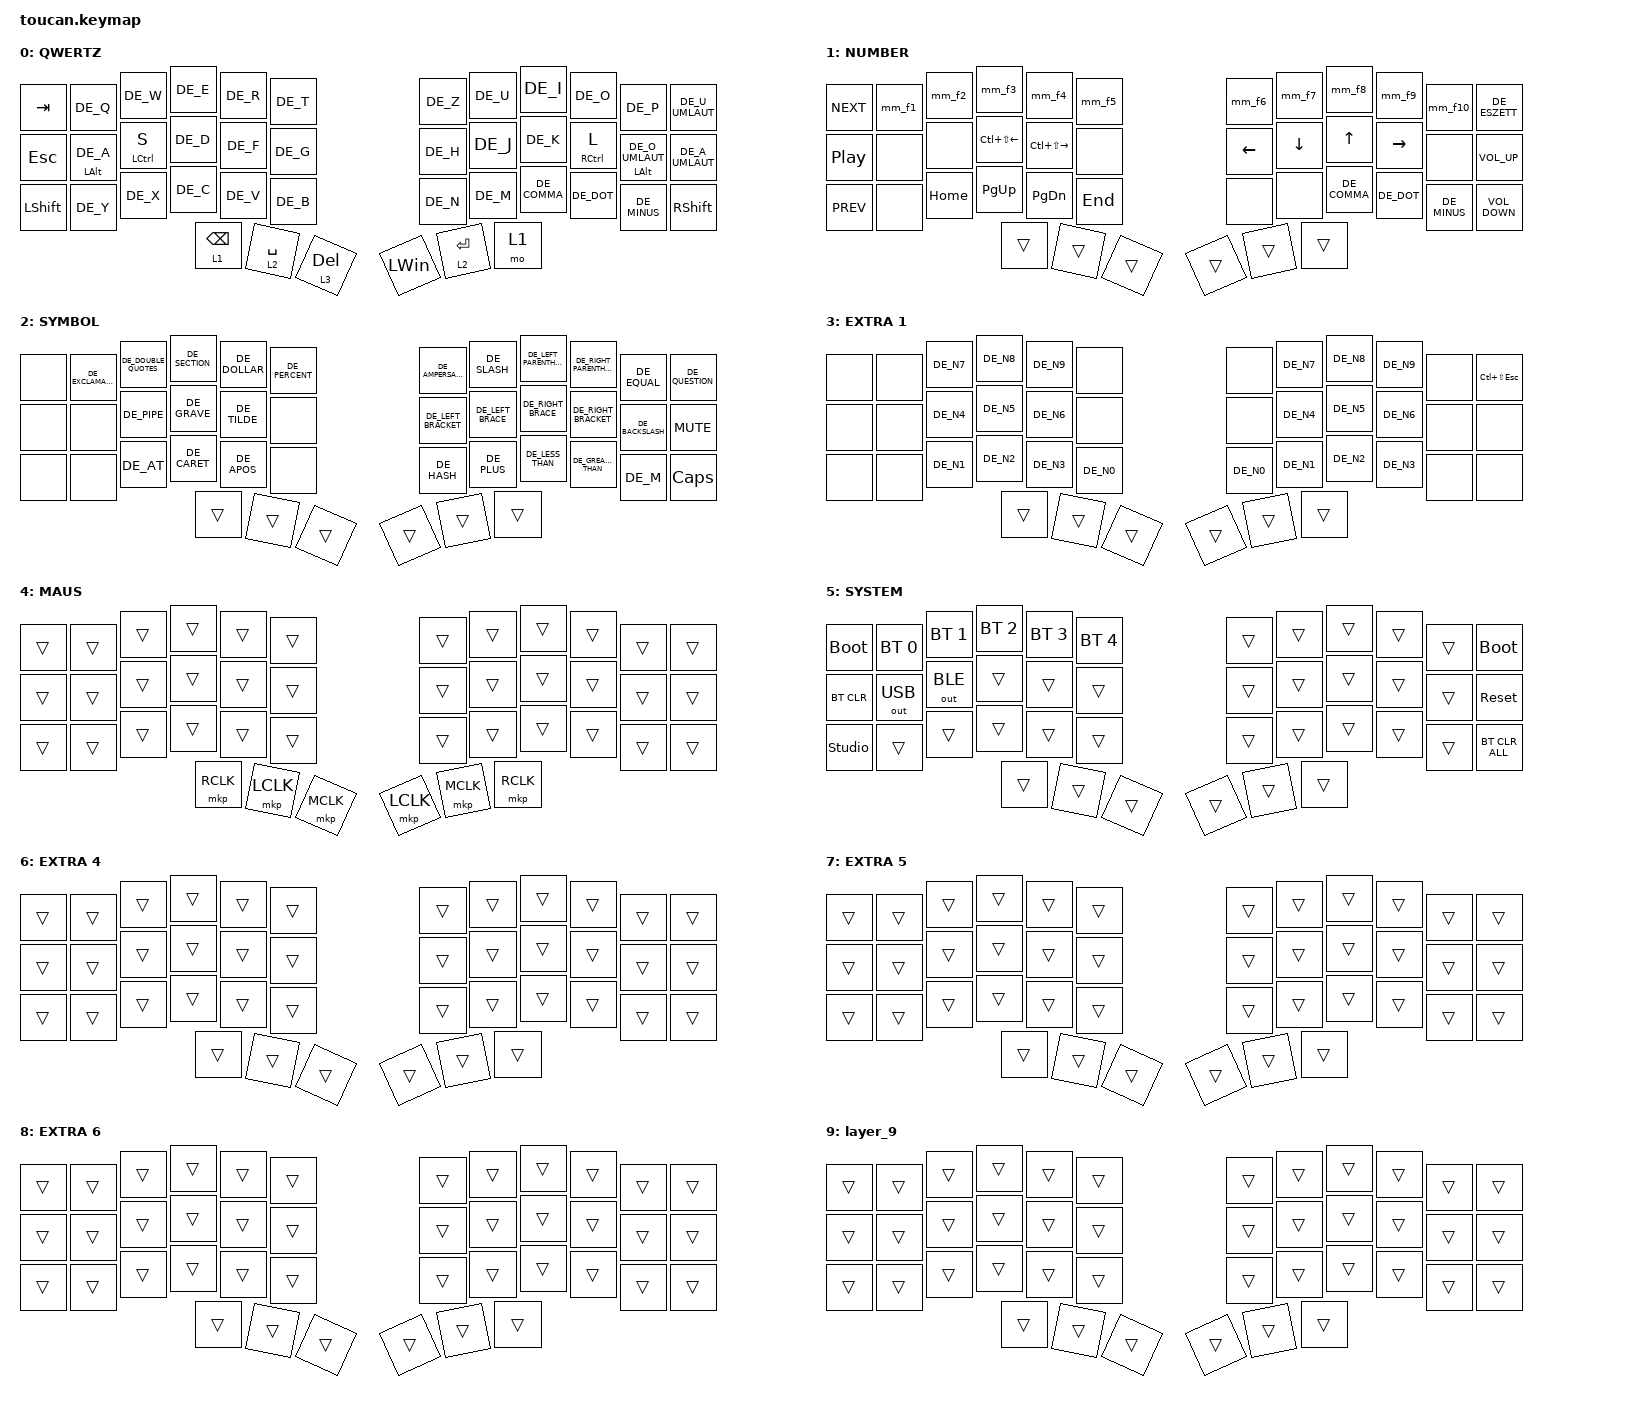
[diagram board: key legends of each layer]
/*
 * Copyright (c) 2020 The ZMK Contributors
 *
 * SPDX-License-Identifier: MIT
 *
 * Toucan2-Keymap, abgeleitet von config/piantor_pro_bt.keymap.
 * Gleiche Tastenpositionen (3x6 + 3 Daumentasten pro Seite).
 * Unterschiede zur Piantor:
 *  - Ebene 4 ist die Maus-Ebene: Sie wird automatisch aktiv, solange das
 *    Trackpad beruehrt wird (siehe is_touching_processor in toucan.dtsi).
 *  - Ebene 5 (SYSTEM) mit Bluetooth, Bootloader und Studio-Unlock.
 *    Erreichbar ueber Ebene 1 + Ebene 2 gleichzeitig halten.
 */

#include <behaviors.dtsi>
#include <dt-bindings/zmk/keys.h>
#include <dt-bindings/zmk/bt.h>
#include <dt-bindings/zmk/outputs.h>
#include <dt-bindings/zmk/pointing.h>
#include "keys_de.h"

/ {
    chosen { zmk,physical-layout = &default_layout; };
};

/ {
    behaviors {
        HMR: HMR {
            compatible = "zmk,behavior-hold-tap";
            label = "HMR";
            bindings = <&kp>, <&kp>;

            #binding-cells = <2>;
            hold-trigger-key-positions = <1 15 2 3 4 16 5 17 29 28 26 14 27 13 25 24 12 36 37 38 0>;
            hold-trigger-on-release;
            tapping-term-ms = <250>;
            flavor = "tap-preferred";
            require-prior-idle-ms = <100>;
        };

        HML: HML {
            compatible = "zmk,behavior-hold-tap";
            label = "HML";
            bindings = <&kp>, <&kp>;

            #binding-cells = <2>;
            hold-trigger-key-positions = <6 7 8 9 10 11 18 19 20 21 22 23 30 31 32 33 34 35 40 41 39>;
            hold-trigger-on-release;
            tapping-term-ms = <250>;
            flavor = "tap-preferred";
            require-prior-idle-ms = <100>;
        };

        // Layer 1: Ziffer normal, mit Strg -> F-Taste. Das Strg wird beim
        // Morph entfernt (keep-mods = 0 als Default), es kommt reines Fn an.
        // Shift+Zahl bleibt damit frei fuer die Symbole (z. B. $ = Shift+4).

        mm_f1: mm_f1 {
            compatible = "zmk,behavior-mod-morph";
            #binding-cells = <0>;
            bindings = <&kp DE_N1>, <&kp F1>;

            mods = <(MOD_LCTL|MOD_RCTL)>;
        };

        mm_f2: mm_f2 {
            compatible = "zmk,behavior-mod-morph";
            #binding-cells = <0>;
            bindings = <&kp DE_N2>, <&kp F2>;

            mods = <(MOD_LCTL|MOD_RCTL)>;
        };

        mm_f3: mm_f3 {
            compatible = "zmk,behavior-mod-morph";
            #binding-cells = <0>;
            bindings = <&kp DE_N3>, <&kp F3>;

            mods = <(MOD_LCTL|MOD_RCTL)>;
        };

        mm_f4: mm_f4 {
            compatible = "zmk,behavior-mod-morph";
            #binding-cells = <0>;
            bindings = <&kp DE_N4>, <&kp F4>;

            mods = <(MOD_LCTL|MOD_RCTL)>;
        };

        mm_f5: mm_f5 {
            compatible = "zmk,behavior-mod-morph";
            #binding-cells = <0>;
            bindings = <&kp DE_N5>, <&kp F5>;

            mods = <(MOD_LCTL|MOD_RCTL)>;
        };

        mm_f6: mm_f6 {
            compatible = "zmk,behavior-mod-morph";
            #binding-cells = <0>;
            bindings = <&kp DE_N6>, <&kp F6>;

            mods = <(MOD_LCTL|MOD_RCTL)>;
        };

        mm_f7: mm_f7 {
            compatible = "zmk,behavior-mod-morph";
            #binding-cells = <0>;
            bindings = <&kp DE_N7>, <&kp F7>;

            mods = <(MOD_LCTL|MOD_RCTL)>;
        };

        mm_f8: mm_f8 {
            compatible = "zmk,behavior-mod-morph";
            #binding-cells = <0>;
            bindings = <&kp DE_N8>, <&kp F8>;

            mods = <(MOD_LCTL|MOD_RCTL)>;
        };

        mm_f9: mm_f9 {
            compatible = "zmk,behavior-mod-morph";
            #binding-cells = <0>;
            bindings = <&kp DE_N9>, <&kp F9>;

            mods = <(MOD_LCTL|MOD_RCTL)>;
        };

        mm_f10: mm_f10 {
            compatible = "zmk,behavior-mod-morph";
            #binding-cells = <0>;
            bindings = <&kp N0>, <&kp F10>;

            mods = <(MOD_LCTL|MOD_RCTL)>;
        };
    };

    // Ebene 1 + Ebene 2 gleichzeitig -> SYSTEM-Ebene
    conditional_layers {
        compatible = "zmk,conditional-layers";

        number_symbol_to_system {
            if-layers = <1 2>;
            then-layer = <5>;
        };
    };

    macros {
        open_terminal: open_terminal {
            compatible = "zmk,behavior-macro";
            #binding-cells = <0>;
            bindings = <&none>;
            label = "OPEN_TERMINAL";
        };
    };

    keymap {
        compatible = "zmk,keymap";

        default_layer {
            display-name = "QWERTZ";

            // --------------------------------------------------------------------------------
            // |  TAB |  Q  |  W  |  E  |  R  |  T  |  Y  |  U   |  I  |  O  |  P  | BSPC |
            // | CTRL |  A  |  S  |  D  |  F  |  G  |  H  |  J   |  K  |  L  |  ;  |  '   |
            // | SHFT |  Z  |  X  |  C  |  V  |  B  |  N  |  M   |  ,  |  .  |  /  | ESC  |
            //                    | GUI | LWR | SPC | ENT | RSE  | ALT |

            bindings = <
&kp TAB  &kp DE_Q  &kp DE_W  &kp DE_E  &kp DE_R  &kp DE_T  &kp DE_Z  &kp DE_U  &kp DE_I  &kp DE_O  &kp DE_P  &kp DE_U_UMLAUT  &kp ESCAPE  &HML LEFT_ALT DE_A  &HML LCTRL S  &kp DE_D  &kp DE_F  &kp DE_G  &kp DE_H  &kp DE_J  &kp DE_K  &HMR RCTRL L  &HMR LEFT_ALT DE_O_UMLAUT  &kp DE_A_UMLAUT  &kp LEFT_SHIFT  &kp DE_Y  &kp DE_X  &kp DE_C  &kp DE_V  &kp DE_B  &kp DE_N  &kp DE_M  &kp DE_COMMA  &kp DE_DOT  &kp DE_MINUS  &kp RIGHT_SHIFT  &lt 1 BACKSPACE  &lt 2 SPACE  &lt 3 DELETE  &kp LWIN  &lt 2 ENTER  &mo 1
            >;
        };

        lower_layer {
            display-name = "NUMBER";

            // -----------------------------------------------------------------------------------------
            // |  TAB |  1  |  2  |  3  |  4  |  5    |  6  |  7  |  8  |  9  |  0  | BSPC |
            // | CTRL | BT1 | BT2 | BT3 | BT4 | BT5   | LFT | DWN |  UP | RGT |     |      |
            // | SHFT | BTCR| RGB | RST | BOOT| Unlock|     |     |     |     |     |      |
            //                    | GUI |     | SPC   | ENT |     | ALT |

            bindings = <
&kp C_NEXT  &mm_f1  &mm_f2  &mm_f3  &mm_f4  &mm_f5  &mm_f6  &mm_f7  &mm_f8  &mm_f9  &mm_f10  &kp DE_ESZETT  &kp C_PLAY_PAUSE  &none  &none  &kp LC(LS(LEFT_ARROW))  &kp LC(LS(RIGHT))  &none  &kp LEFT  &kp DOWN  &kp UP  &kp RIGHT  &none  &kp C_VOLUME_UP  &kp C_PREV  &none  &kp HOME  &kp PAGE_UP  &kp PAGE_DOWN  &kp END  &none  &none  &kp DE_COMMA  &kp DE_DOT  &kp DE_MINUS  &kp C_VOLUME_DOWN  &trans  &trans  &trans  &trans  &trans  &trans
            >;
        };

        raise_layer {
            display-name = "SYMBOL";

            // -----------------------------------------------------------------------------------------
            // |  TAB |  !  |  @  |  #  |  $  |  %  |  ^  |  &  |  *  |  (  |  )  | BSPC |
            // | CTRL |     |     |     |     |     |  -  |  =  |  [  |  ]  |  \  |  `   |
            // | SHFT |     |     |     |     |     |  _  |  +  |  {  |  }  | "|" |  ~   |
            //                    | GUI |     | SPC | ENT |     | ALT |

            bindings = <
&none  &kp DE_EXCLAMATION  &kp DE_DOUBLE_QUOTES  &kp DE_SECTION  &kp DE_DOLLAR  &kp DE_PERCENT  &kp DE_AMPERSAND  &kp DE_SLASH  &kp DE_LEFT_PARENTHESIS  &kp DE_RIGHT_PARENTHESIS  &kp DE_EQUAL  &kp DE_QUESTION  &none  &none  &kp DE_PIPE  &kp DE_GRAVE  &kp DE_TILDE  &none  &kp DE_LEFT_BRACKET  &kp DE_LEFT_BRACE  &kp DE_RIGHT_BRACE  &kp DE_RIGHT_BRACKET  &kp DE_BACKSLASH  &kp K_MUTE  &none  &none  &kp DE_AT  &kp DE_CARET  &kp DE_APOS  &none  &kp DE_HASH  &kp DE_PLUS  &kp DE_LESS_THAN  &kp DE_GREATER_THAN  &kp DE_M  &kp CAPSLOCK  &trans  &trans  &trans  &trans  &trans  &trans
            >;
        };

        extra_layer_1 {
            display-name = "EXTRA 1";
            bindings = <
&none  &none  &kp DE_N7  &kp DE_N8  &kp DE_N9  &none  &none  &kp DE_N7  &kp DE_N8  &kp DE_N9  &none  &kp LC(LS(ESCAPE))  &none  &none  &kp DE_N4  &kp DE_N5  &kp DE_N6  &none  &none  &kp DE_N4  &kp DE_N5  &kp DE_N6  &none  &none  &none  &none  &kp DE_N1  &kp DE_N2  &kp DE_N3  &kp DE_N0  &kp DE_N0  &kp DE_N1  &kp DE_N2  &kp DE_N3  &none  &none  &trans  &trans  &trans  &trans  &trans  &trans
            >;
        };

        mouse_layer {
            display-name = "MAUS";

            // Automatisch aktiv, solange das Trackpad beruehrt wird.
            //                    | RCLK | LCLK | MCLK | LCLK | MCLK | RCLK |

            bindings = <
&trans  &trans  &trans  &trans  &trans  &trans  &trans  &trans  &trans  &trans  &trans  &trans  &trans  &trans  &trans  &trans  &trans  &trans  &trans  &trans  &trans  &trans  &trans  &trans  &trans  &trans  &trans  &trans  &trans  &trans  &trans  &trans  &trans  &trans  &trans  &trans  &mkp RCLK  &mkp LCLK  &mkp MCLK  &mkp LCLK  &mkp MCLK  &mkp RCLK
            >;
        };

        system_layer {
            display-name = "SYSTEM";

            // Ebene 1 + Ebene 2 gleichzeitig halten.
            // | BOOT  | BT0 | BT1 | BT2 | BT3 | BT4 |     |     |     |     |     | BOOT  |
            // | BTCLR | USB | BLE |     |     |     |     |     |     |     |     | RESET |
            // | STUDIO|     |     |     |     |     |     |     |     |     |     | CLRALL|
            // BOOT links flasht die linke Haelfte, BOOT rechts die rechte.

            bindings = <
&bootloader  &bt BT_SEL 0  &bt BT_SEL 1  &bt BT_SEL 2  &bt BT_SEL 3  &bt BT_SEL 4  &trans  &trans  &trans  &trans  &trans  &bootloader  &bt BT_CLR  &out OUT_USB  &out OUT_BLE  &trans  &trans  &trans  &trans  &trans  &trans  &trans  &trans  &sys_reset  &studio_unlock  &trans  &trans  &trans  &trans  &trans  &trans  &trans  &trans  &trans  &trans  &bt BT_CLR_ALL  &trans  &trans  &trans  &trans  &trans  &trans
            >;
        };

        extra_layer_4 {
            display-name = "EXTRA 4";
            bindings = <
&trans  &trans  &trans  &trans  &trans  &trans  &trans  &trans  &trans  &trans  &trans  &trans  &trans  &trans  &trans  &trans  &trans  &trans  &trans  &trans  &trans  &trans  &trans  &trans  &trans  &trans  &trans  &trans  &trans  &trans  &trans  &trans  &trans  &trans  &trans  &trans  &trans  &trans  &trans  &trans  &trans  &trans
            >;
        };

        extra_layer_5 {
            display-name = "EXTRA 5";
            bindings = <
&trans  &trans  &trans  &trans  &trans  &trans  &trans  &trans  &trans  &trans  &trans  &trans  &trans  &trans  &trans  &trans  &trans  &trans  &trans  &trans  &trans  &trans  &trans  &trans  &trans  &trans  &trans  &trans  &trans  &trans  &trans  &trans  &trans  &trans  &trans  &trans  &trans  &trans  &trans  &trans  &trans  &trans
            >;
        };

        extra_layer_6 {
            display-name = "EXTRA 6";
            bindings = <
&trans  &trans  &trans  &trans  &trans  &trans  &trans  &trans  &trans  &trans  &trans  &trans  &trans  &trans  &trans  &trans  &trans  &trans  &trans  &trans  &trans  &trans  &trans  &trans  &trans  &trans  &trans  &trans  &trans  &trans  &trans  &trans  &trans  &trans  &trans  &trans  &trans  &trans  &trans  &trans  &trans  &trans
            >;
        };

        layer_9 {
            bindings = <
&trans  &trans  &trans  &trans  &trans  &trans  &trans  &trans  &trans  &trans  &trans  &trans  &trans  &trans  &trans  &trans  &trans  &trans  &trans  &trans  &trans  &trans  &trans  &trans  &trans  &trans  &trans  &trans  &trans  &trans  &trans  &trans  &trans  &trans  &trans  &trans  &trans  &trans  &trans  &trans  &trans  &trans
            >;
        };
    };
};
